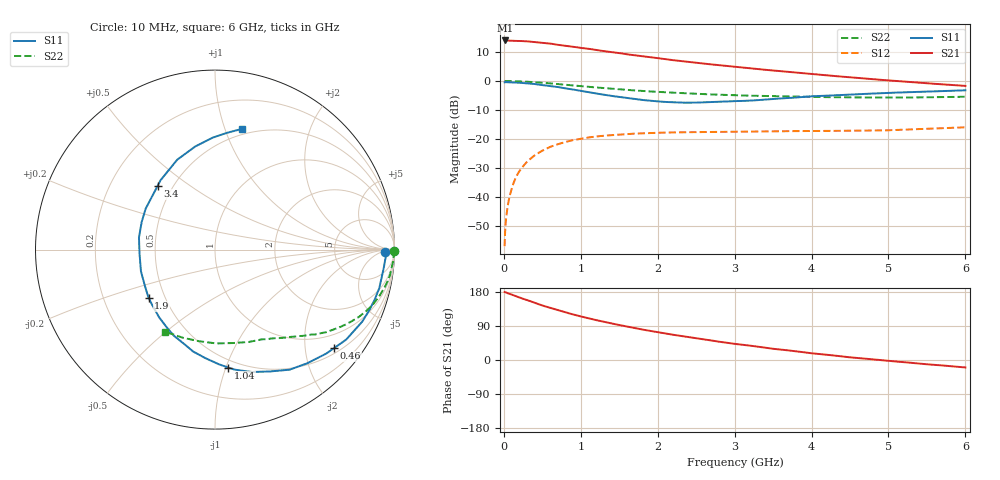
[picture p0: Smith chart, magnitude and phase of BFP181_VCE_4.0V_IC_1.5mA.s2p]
! Infineon Technologies  Discrete & RF Semiconductors
! BFP181
! VCE = 4.0 V,  IC =  1.5 mA
! Common Emitter S-Parameters:  Jan 2016
# GHz  S  MA  R  50
!  f  S11  S21  S12  S22
! GHz  MAG  ANG  MAG  ANG  MAG  ANG  MAG  ANG
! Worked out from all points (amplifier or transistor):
!   210 points, 10 MHz to 6 GHz, reference 50 ohm
!   highest |S21| = 14.0 dB at 20 MHz (marker M1)
!   |S21| within 3 dB of that: start of sweep to 1.132 GHz
!   unconditionally stable (mu >= 1): 2.742 GHz to end of sweep
!   at 185 MHz: K = 0.09, MSG = 22.9 dB, |S12| = -31.9 dB
!   at 1.52 GHz: K = 0.61, MSG = 14.0 dB, |S12| = -18.5 dB
!   at 6 GHz: K = 1.19, MAG = 4.5 dB, |S12| = -16.0 dB
!   S11 on the Smith chart (normalised r, x): 10 MHz: 34, -10; 460 MHz: 0.62, -2.66; 1.04 GHz: 0.44, -1.02; 1.9 GHz: 0.41, -0.28; 3.4 GHz: 0.41, +0.38; 6 GHz: 0.45, +1.15
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0.01  0.9474 -0.9  5.002 179.4  0.0014 97.0  0.9978 -0.4
0.02  0.9539 -1.6  5.008 179.0  0.003 94.3  0.9958 -0.8
0.04  0.9507 -3.3  4.99 177.2  0.0056 89.0  0.9958 -1.7
0.06  0.9476 -5.0  4.974 175.6  0.0082 86.9  0.9954 -2.5
0.15  0.9402 -13.2  4.92 169.0  0.0207 81.2  0.989 -6.0
0.24  0.9243 -21.0  4.888 162.2  0.0323 76.8  0.9803 -9.6
0.3  0.9131 -26.1  4.845 158.5  0.04 73.4  0.9711 -11.9
0.46  0.8615 -39.5  4.62 146.8  0.0581 65.1  0.9404 -17.6
0.6  0.8158 -50.9  4.44 137.6  0.0724 58.9  0.909 -22.2
0.8  0.745 -65.7  4.071 125.7  0.0882 50.5  0.8598 -27.7
1.02  0.669 -82.2  3.701 114.0  0.1013 42.9  0.8087 -32.8
1.04  0.6612 -83.5  3.675 113.0  0.1024 42.3  0.8043 -33.2
1.24  0.5958 -97.7  3.367 103.5  0.1112 36.4  0.7634 -37.3
1.46  0.5386 -112.7  3.076 93.9  0.1174 31.4  0.7219 -40.9
1.9  0.4575 -144.0  2.586 76.9  0.1259 23.6  0.6594 -47.3
2.02  0.4415 -151.7  2.458 72.7  0.1276 22.1  0.6461 -48.8
2.42  0.4212 -178.6  2.131 59.8  0.1305 17.4  0.6075 -54.3
3.1  0.4519 144.9  1.71 40.3  0.1331 12.4  0.5604 -63.8
3.4  0.4778 132.0  1.559 32.5  0.1348 10.9  0.5503 -68.4
4.1  0.5496 110.3  1.285 15.9  0.1367 8.5  0.5274 -81.1
5.1  0.6294 89.7  0.998 -4.0  0.1424 7.6  0.5176 -101.7
6  0.6899 77.3  0.822 -19.7  0.1583 6.9  0.5348 -121.2
